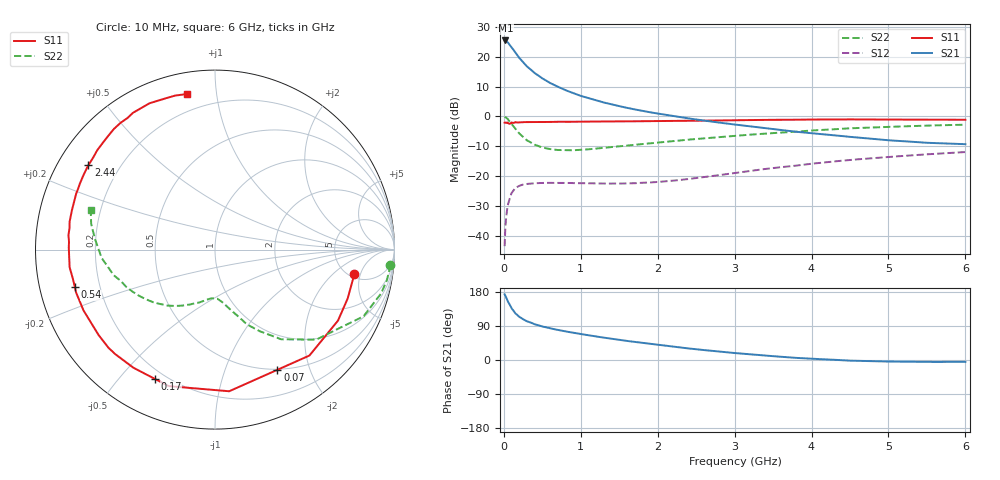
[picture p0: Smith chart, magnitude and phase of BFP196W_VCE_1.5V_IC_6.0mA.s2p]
! Infineon Technologies  Discrete & RF Semiconductors
! BFP196W
! VCE = 1.5 V,  IC = 6.0mA
! Common Emitter S-Parameters:  Jan 2016
# GHz  S  MA  R  50
!  f  S11  S21  S12  S22
! GHz  MAG  ANG  MAG  ANG  MAG  ANG  MAG  ANG
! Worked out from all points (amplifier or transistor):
!   210 points, 10 MHz to 6 GHz, reference 50 ohm
!   highest |S21| = 25.5 dB at 20 MHz (marker M1)
!   |S21| within 3 dB of that: start of sweep to 121.2 MHz
!   unconditionally stable (mu >= 1): 1.36 GHz to 3.338 GHz
!   at 185 MHz: K = 0.16, MSG = 21.9 dB, |S12| = -23.5 dB
!   at 1.52 GHz: K = 1.10, MAG = 11.0 dB, |S12| = -22.5 dB
!   at 6 GHz: K = 1.00, MSG = 1.3 dB, |S12| = -11.9 dB
!   S11 on the Smith chart (normalised r, x): 10 MHz: 5.47, -4.00; 70 MHz: 0.49, -1.53; 170 MHz: 0.16, -0.63; 540 MHz: 0.11, -0.13; 2.44 GHz: 0.09, +0.30; 6 GHz: 0.11, +0.83
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0.01  0.7884 -10.1  18.6 173.3  0.0067 83.6  0.9815 -5.0
0.02  0.7878 -20.3  18.78 169.7  0.014 80.7  0.973 -10.1
0.03  0.7913 -30.0  18.5 164.9  0.0202 76.2  0.957 -14.8
0.05  0.7906 -48.3  17.62 155.1  0.032 66.6  0.9077 -24.1
0.07  0.7545 -62.6  16.18 148.4  0.0395 57.7  0.8377 -30.3
0.1  0.7932 -84.3  14.53 136.2  0.0519 49.4  0.7554 -41.6
0.15  0.803 -108.7  11.81 122.9  0.0633 38.4  0.6219 -53.5
0.17  0.7944 -115.0  10.9 119.7  0.0653 35.4  0.5798 -56.3
0.2  0.7999 -124.6  9.611 113.9  0.0686 31.3  0.5196 -61.2
0.26  0.8071 -137.4  7.859 106.5  0.0728 25.7  0.4422 -67.5
0.3  0.8044 -143.8  6.899 102.2  0.074 22.8  0.3982 -70.5
0.4  0.8072 -155.2  5.346 94.4  0.076 18.9  0.3371 -76.6
0.54  0.8084 -165.0  4.063 86.7  0.0771 16.3  0.2947 -82.3
0.8  0.8134 -177.0  2.759 75.4  0.077 14.9  0.2724 -90.5
1.02  0.8155 176.5  2.174 67.9  0.0759 15.8  0.277 -96.8
1.4  0.825 167.0  1.593 56.0  0.0749 20.4  0.3069 -106.4
2.02  0.8376 154.1  1.107 39.7  0.0802 32.7  0.367 -121.5
2.44  0.8473 146.3  0.913 29.7  0.0908 39.9  0.4128 -131.3
3.1  0.8659 134.8  0.708 16.7  0.1173 45.6  0.4843 -146.5
4.1  0.8885 119.6  0.511 2.4  0.1663 43.9  0.5905 -167.9
5.1  0.8864 107.9  0.392 -4.3  0.2139 36.7  0.6757 173.8
6  0.8806 100.1  0.343 -4.9  0.2533 29.7  0.7271 162.2
